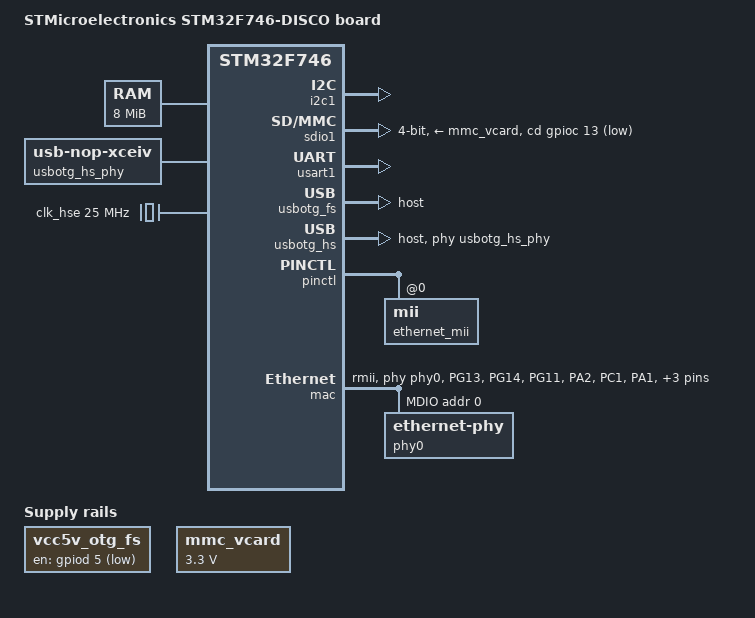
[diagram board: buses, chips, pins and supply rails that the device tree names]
/*
 * Copyright 2017 - Vikas MANOCHA <vikas.manocha@st.com>
 *
 * This file is dual-licensed: you can use it either under the terms
 * of the GPL or the X11 license, at your option. Note that this dual
 * licensing only applies to this file, and not this project as a
 * whole.
 *
 *  a) This file is free software; you can redistribute it and/or
 *     modify it under the terms of the GNU General Public License as
 *     published by the Free Software Foundation; either version 2 of the
 *     License, or (at your option) any later version.
 *
 *     This file is distributed in the hope that it will be useful,
 *     but WITHOUT ANY WARRANTY; without even the implied warranty of
 *     MERCHANTABILITY or FITNESS FOR A PARTICULAR PURPOSE.  See the
 *     GNU General Public License for more details.
 *
 * Or, alternatively,
 *
 *  b) Permission is hereby granted, free of charge, to any person
 *     obtaining a copy of this software and associated documentation
 *     files (the "Software"), to deal in the Software without
 *     restriction, including without limitation the rights to use,
 *     copy, modify, merge, publish, distribute, sublicense, and/or
 *     sell copies of the Software, and to permit persons to whom the
 *     Software is furnished to do so, subject to the following
 *     conditions:
 *
 *     The above copyright notice and this permission notice shall be
 *     included in all copies or substantial portions of the Software.
 *
 *     THE SOFTWARE IS PROVIDED "AS IS", WITHOUT WARRANTY OF ANY KIND,
 *     EXPRESS OR IMPLIED, INCLUDING BUT NOT LIMITED TO THE WARRANTIES
 *     OF MERCHANTABILITY, FITNESS FOR A PARTICULAR PURPOSE AND
 *     NONINFRINGEMENT. IN NO EVENT SHALL THE AUTHORS OR COPYRIGHT
 *     HOLDERS BE LIABLE FOR ANY CLAIM, DAMAGES OR OTHER LIABILITY,
 *     WHETHER IN AN ACTION OF CONTRACT, TORT OR OTHERWISE, ARISING
 *     FROM, OUT OF OR IN CONNECTION WITH THE SOFTWARE OR THE USE OR
 *     OTHER DEALINGS IN THE SOFTWARE.
 */

/dts-v1/;
#include "stm32f746.dtsi"
#include "stm32f746-pinctrl.dtsi"
#include <dt-bindings/input/input.h>
#include <dt-bindings/gpio/gpio.h>

/ {
	model = "STMicroelectronics STM32F746-DISCO board";
	compatible = "st,stm32f746-disco", "st,stm32f746";

	chosen {
		bootargs = "root=/dev/ram";
		stdout-path = "serial0:115200n8";
	};

	memory {
		reg = <0xC0000000 0x800000>;
	};

	aliases {
		serial0 = &usart1;
	};

	usbotg_hs_phy: usb-phy {
		#phy-cells = <0>;
		compatible = "usb-nop-xceiv";
		clocks = <&rcc 0 STM32F7_AHB1_CLOCK(OTGHSULPI)>;
		clock-names = "main_clk";
	};

	/* This turns on vbus for otg fs for host mode (dwc2) */
	vcc5v_otg_fs: vcc5v-otg-fs-regulator {
		compatible = "regulator-fixed";
		gpio = <&gpiod 5 0>;
		regulator-name = "vcc5_host1";
		regulator-always-on;
	};

	mmc_vcard: mmc_vcard {
		compatible = "regulator-fixed";
		regulator-name = "mmc_vcard";
		regulator-min-microvolt = <3300000>;
		regulator-max-microvolt = <3300000>;
	};

	reserved-memory {
		#address-cells = <1>;
		#size-cells = <1>;
		ranges;

		linux,dma {
			compatible = "shared-dma-pool";
			linux,dma-default;
			no-map;
			reg = <0xc0700000 0x100000>;
		};
	};
};

&clk_hse {
	clock-frequency = <25000000>;
};

&i2c1 {
	pinctrl-0 = <&i2c1_pins_b>;
	pinctrl-names = "default";
	i2c-scl-rising-time-ns = <185>;
	i2c-scl-falling-time-ns = <20>;
	status = "okay";
};

&sdio1 {
	status = "okay";
	vmmc-supply = <&mmc_vcard>;
	cd-gpios = <&gpioc 13 GPIO_ACTIVE_HIGH>;
	cd-inverted;
	pinctrl-names = "default", "opendrain";
	pinctrl-0 = <&sdio_pins_a>;
	pinctrl-1 = <&sdio_pins_od_a>;
	bus-width = <4>;
};

&usart1 {
	pinctrl-0 = <&usart1_pins_b>;
	pinctrl-names = "default";
	status = "okay";
};

&usbotg_fs {
	dr_mode = "host";
	pinctrl-0 = <&usbotg_fs_pins_a>;
	pinctrl-names = "default";
	status = "okay";
};

&usbotg_hs {
	dr_mode = "host";
	phys = <&usbotg_hs_phy>;
	phy-names = "usb2-phy";
	pinctrl-0 = <&usbotg_hs_pins_b>;
	pinctrl-names = "default";
	status = "okay";
};

&dma1 {
	status = "okay";
};

&dma2 {
	status = "okay";
};

&pinctl {
	ethernet_mii: mii@0 {
		pins {
			pinmux = <STM32_PINMUX('G', 13, AF11)>, /* ETH_MII_TXD0_ETH_RMII_TXD0 */
				 <STM32_PINMUX('G', 14, AF11)>, /* ETH_MII_TXD1_ETH_RMII_TXD1 */
				 <STM32_PINMUX('G', 11,AF11)>, /* ETH_MII_TX_EN_ETH_RMII_TX_EN */
				 <STM32_PINMUX('A', 2, AF11)>, /* ETH_MDIO */
				 <STM32_PINMUX('C', 1, AF11)>, /* ETH_MDC */
				 <STM32_PINMUX('A', 1, AF11)>, /* ETH_MII_RX_CLK_ETH_RMII_REF_CLK */
				 <STM32_PINMUX('A', 7, AF11)>, /* ETH_MII_RX_DV_ETH_RMII_CRS_DV */
				 <STM32_PINMUX('C', 4, AF11)>, /* ETH_MII_RXD0_ETH_RMII_RXD0 */
				 <STM32_PINMUX('C', 5, AF11)>; /* ETH_MII_RXD1_ETH_RMII_RXD1 */
			slew-rate = <2>;
		};
	};
};

&mac {
	compatible = "st,stm32-dwmac";
        pinctrl-0 = <&ethernet_mii>;
        phy-mode = "rmii";
        phy-handle = <&phy0>;
        status = "okay";

        mdio0 {
                #address-cells = <1>;
                #size-cells = <0>;
                compatible = "snps,dwmac-mdio";
                phy0: ethernet-phy@0 {
                        reg = <0>;
                };
        };
};
